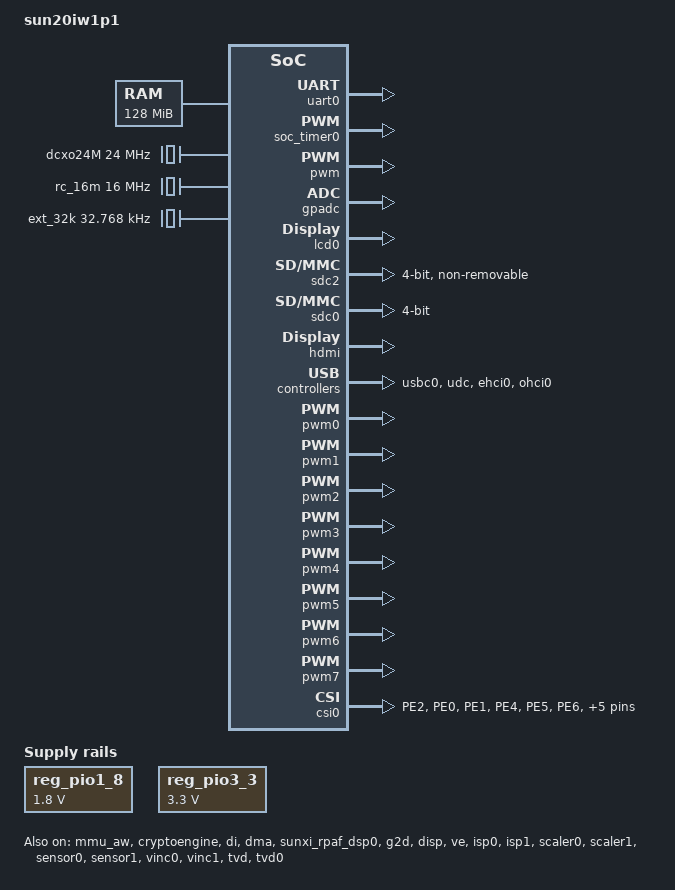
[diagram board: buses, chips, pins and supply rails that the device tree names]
/*
 * Allwinner Technology CO., Ltd. sun20iw1p1 platform.
 *
 */

/memreserve/ 0x41fc0000 0x020000;  /* opensbi */

#include <dt-bindings/clock/sun8iw20-ccu.h>
#include <dt-bindings/clock/sun8iw20-r-ccu.h>
#include <dt-bindings/clock/sun8iw20-rtc.h>
#include <dt-bindings/reset/sun8iw20-ccu.h>
#include <dt-bindings/reset/sun8iw20-r-ccu.h>
#include <dt-bindings/gpio/gpio.h>
#include <dt-bindings/interrupt-controller/irq.h>
#include <dt-bindings/gpio/sun4i-gpio.h>
#include <dt-bindings/thermal/thermal.h>

/ {
	model = "sun20iw1p1";
	compatible = "allwinner,sun20iw1p1";
	#address-cells = <2>;
	#size-cells = <2>;

	aliases {
		serial0 = &uart0;
		serial1 = &uart1;
		serial2 = &uart2;
		serial3 = &uart3;
		serial4 = &uart4;
		serial5 = &uart5;
		spi0 = &spi0;
		spi1 = &spi1;
		twi0 = &twi0;
		twi1 = &twi1;
		twi2 = &twi2;
		twi3 = &twi3;
		mmc2 = &sdc2;
		pwm0 = &pwm0;
		pwm1 = &pwm1;
		pwm2 = &pwm2;
		pwm3 = &pwm3;
		pwm4 = &pwm4;
		pwm5 = &pwm5;
		pwm6 = &pwm6;
		pwm7 = &pwm7;
		ir0 = &s_cir0;
		ir1 = &ir1;
		mmc0 = &sdc0;
		ve0 = &ve;
		tvd = &tvd;
		tvd0 = &tvd0;
	} ;

	chosen {
		bootargs = "console=ttyS0,115200n8 debug loglevel=7,initcall_debug=1 init=/init earlycon=sbi";
		stdout-path = "serial0:115200n8";
		linux,initrd-start = <0x42000000>;
		linux,initrd-end   = <0x43000000>;
	};

	cpus {
		#address-cells = <1>;
		#size-cells = <0>;
		timebase-frequency = <24000000>;

		idle-states {
			CPU_SLEEP: cpu-sleep {
				compatible = "riscv,idle-state";
				local-timer-stop;
				entry-latency-us = <59>;
				exit-latency-us = <59>;
				min-residency-us = <5000>;
			};
		};

		CPU0: cpu@0 {
			device_type = "cpu";
			reg = <0>;
			status = "okay";
			compatible = "riscv";
			riscv,isa = "rv64imafdcvsu";
		/*	riscv,priv-major = <1>;*/
		/*	riscv,priv-minor = <10>;*/
			mmu-type = "riscv,sv39";
			clocks = <&ccu CLK_RISCV>;
			clock-frequency = <24000000>;
			operating-points-v2 = <&cpu_opp_table>;
			cpu-idle-states = <&CPU_SLEEP>;
			#cooling-cells = <2>;
	/*		d-cache-size = <0x8000>;*/
	/*		d-cache-line-size = <32>;*/
			CPU0_intc: interrupt-controller {
				#interrupt-cells = <1>;
				interrupt-controller;
				compatible = "riscv,cpu-intc";
			};
		};
	};

	dram: dram {
		device_type = "dram";
		compatible = "allwinner,dram";
		clocks = <&ccu CLK_PLL_DDR0>;
		clock-names = "pll_ddr";
	};

	memory@40000000 {
		device_type = "memory";
		reg = <0x0 0x40000000 0x0 0x8000000>;
	};

	dump_reg: dump_reg@20000 {
		compatible = "allwinner,sunxi-dump-reg";
		reg = <0x0 0x00020000 0x0 0x0004>;
		/* 0x00020000: dump_reg test addr, 0x0004: dump_reg test size */
	};

	cpu_opp_table: cpu-opp-table {
		compatible = "allwinner,sun50i-operating-points";
		nvmem-cells = <&speedbin_efuse>, <&cpubin_efuse>;
		nvmem-cell-names = "speed", "bin";
		opp-shared;

		opp@480000000 {
			opp-hz = /bits/ 64 <480000000>;
			clock-latency-ns = <244144>; /* 8 32k periods */
			opp-microvolt-a0 = <900000>;
			opp-microvolt-a1 = <900000>;
			opp-microvolt-b0 = <950000>;
			opp-microvolt-b1 = <950000>;
			opp-microvolt-c0 = <950000>;
			opp-microvolt-c1 = <950000>;
			opp-supported-hw = <0x7>;
		};

		opp@600000000 {
			opp-hz = /bits/ 64 <600000000>;
			clock-latency-ns = <244144>; /* 8 32k periods */
			opp-microvolt-b0 = <950000>;
			opp-microvolt-c0 = <950000>;
			opp-microvolt-c1 = <950000>;
			opp-supported-hw = <0x6>;
		};

		opp@720000000 {
			opp-hz = /bits/ 64 <720000000>;
			clock-latency-ns = <244144>; /* 8 32k periods */
			opp-microvolt-a0 = <950000>;
			opp-microvolt-a1 = <900000>;
			opp-microvolt-b0 = <950000>;
			opp-microvolt-b1 = <950000>;
			opp-microvolt-c0 = <950000>;
			opp-microvolt-c1 = <950000>;
			opp-supported-hw = <0x7>;
		};

		opp@816000000 {
			opp-hz = /bits/ 64 <816000000>;
			clock-latency-ns = <244144>; /* 8 32k periods */
			opp-microvolt-a0 = <1000000>;
			opp-microvolt-a1 = <900000>;
			opp-microvolt-b1 = <950000>;
			opp-supported-hw = <0x1>;
		};

		opp@912000000 {
			opp-hz = /bits/ 64 <912000000>;
			clock-latency-ns = <244144>; /* 8 32k periods */
			opp-microvolt-a0 = <1050000>;
			opp-microvolt-a1 = <900000>;
			opp-microvolt-b1 = <950000>;
			opp-microvolt-c1 = <950000>;
			opp-supported-hw = <0x5>;
		};

		opp@1008000000 {
			opp-hz = /bits/ 64 <1008000000>;
			clock-latency-ns = <244144>; /* 8 32k periods */
			opp-microvolt-a0 = <1100000>;
			opp-microvolt-a1 = <950000>;
			opp-microvolt-b1 = <950000>;
			opp-microvolt-c1 = <950000>;
			opp-supported-hw = <0x5>;
		};
	};

	dcxo24M: dcxo24M_clk {
		#clock-cells = <0>;
		compatible = "fixed-clock";
		clock-frequency = <24000000>;
		clock-output-names = "dcxo24M";
	};

	rc_16m: rc16m_clk {
		#clock-cells = <0>;
		compatible = "fixed-clock";
		clock-frequency = <16000000>;
		clock-accuracy = <300000000>;
		clock-output-names = "rc-16m";
	};

	ext_32k: ext32k_clk {
		#clock-cells = <0>;
		compatible = "fixed-clock";
		clock-frequency = <32768>;
		clock-output-names = "ext-32k";
	};

	reg_pio1_8: pio-18 {
		compatible = "regulator-fixed";
		regulator-name = "pio-18";
		regulator-min-microvolt = <1800000>;
		regulator-max-microvolt = <1800000>;
	};

	reg_pio3_3: pio-33 {
		compatible = "regulator-fixed";
		regulator-name = "pio-33";
		regulator-min-microvolt = <3300000>;
		regulator-max-microvolt = <3300000>;
	};

	thermal-zones {
		cpu_thermal_zone {
			polling-delay-passive = <500>;
			polling-delay = <1000>;
			thermal-sensors = <&ths 0>;
			sustainable-power = <1200>;

			cpu_trips: trips {
				cpu_threshold: trip-point@0 {
					temperature = <70000>;
					type = "passive";
					hysteresis = <0>;
				};
				cpu_target: trip-point@1 {
					temperature = <90000>;
					type = "passive";
					hysteresis = <0>;
				};
				cpu_crit: cpu_crit@0 {
					temperature = <110000>;
					type = "critical";
					hysteresis = <0>;
				};
			};

			cooling-maps {
				map0 {
					trip = <&cpu_target>;
					cooling-device = <&CPU0
					THERMAL_NO_LIMIT
					THERMAL_NO_LIMIT>;
					contribution = <1024>;
				};
			};
		};
	};

	mmu_aw: iommu@2010000 {
		compatible = "allwinner,sunxi-iommu";
		reg = <0x0 0x02010000 0x0 0x1000>;
		interrupts-extended = <&plic0 80 IRQ_TYPE_LEVEL_HIGH>;
		interrupt-names = "iommu-irq";
		clocks = <&ccu CLK_BUS_IOMMU>;
		clock-names = "iommu";
		#iommu-cells = <2>;
		status = "okay";
	};

	soc: soc@3000000 {
		#address-cells = <2>;
		#size-cells = <2>;
		compatible = "simple-bus";
		ranges;

		sram_ctrl: sram_ctrl@3000000 {
			compatible = "allwinner,sram_ctrl";
			reg = <0x0 0x3000000 0 0x16C>;
			soc_ver {
				offset = <0x24>;
				mask = <0x7>;
				shift = <0>;
				ver_a = <0x18590000>;
				ver_b = <0x18590002>;
				ver_d = <0x18590003>;
			};

			soc_id {
				offset = <0x200>;
				mask = <0x1>;
				shift = <22>;
			};

			soc_bin {
				offset = <0x0>;
				mask = <0x3ff>;
				shift = <0x0>;
			};

		};

		rtc_ccu: rtc_ccu@7090000 {
			compatible = "allwinner,sun20iw1-rtc-ccu";
			device_type = "rtc-ccu";
			reg = <0x0 0x07090000 0x0 0x320>;  /* The same as rtc */
			#clock-cells = <1>;
		};

		ccu: clock@2001000 {
			compatible = "allwinner,sun20iw1-ccu";
			reg = <0x0 0x02001000 0x0 0x1000>;
			clocks = <&dcxo24M>, <&rtc_ccu CLK_OSC32K>, <&rtc_ccu CLK_IOSC>;
			clock-names = "hosc", "losc", "iosc";
			#clock-cells = <1>;
			#reset-cells = <1>;
		};

		r_ccu: clock@7010000 {
			compatible = "allwinner,sun20iw1-r-ccu";
			reg = <0x0 0x07010000 0x0 0x240>;
			clocks = <&dcxo24M>, <&rtc_ccu CLK_OSC32K>, <&rtc_ccu CLK_IOSC>,
				 <&ccu CLK_PLL_PERIPH0>;
			clock-names = "hosc", "losc", "iosc", "pll-periph0";
			#clock-cells = <1>;
			#reset-cells = <1>;
		};


		plic0: interrupt-controller@10000000 {
			compatible = "riscv,plic0";
			#address-cells = <2>;
			#interrupt-cells = <2>;
			interrupt-controller;
			reg = <0x0 0x10000000 0x0 0x4000000>;
			interrupts-extended = <&CPU0_intc 0xffffffff &CPU0_intc 9>;
			reg-names = "control";
			riscv,max-priority = <7>;
			riscv,ndev=<200>;
		};

		uart0: uart@2500000 {
			compatible = "allwinner,sun20i-uart";
			device_type = "uart0";
			reg = <0x0 0x02500000 0x0 0x400>;
			interrupts-extended = <&plic0 18 IRQ_TYPE_LEVEL_HIGH>;
			clocks = <&ccu CLK_BUS_UART0>;
			clock-names = "uart0";
			resets = <&ccu RST_BUS_UART0>;
			sunxi,uart-fifosize = <64>;
			uart0_port = <0>;
			uart0_type = <2>;
			status = "okay";
		};

		uart1: uart@2500400 {
			compatible = "allwinner,sun20i-uart";
			device_type = "uart1";
			reg = <0x0 0x02500400 0x0 0x400>;
			interrupts-extended = <&plic0 19 IRQ_TYPE_LEVEL_HIGH>;
			sunxi,uart-fifosize = <256>;
			clocks = <&ccu CLK_BUS_UART1>;
			clock-names = "uart1";
			resets = <&ccu RST_BUS_UART1>;
			uart1_port = <1>;
			uart1_type = <4>;
			status = "disabled";
		};

		uart2: uart@2500800 {
			compatible = "allwinner,sun20i-uart";
			device_type = "uart2";
			reg = <0x0 0x02500800 0x0 0x400>;
			interrupts-extended = <&plic0 20 IRQ_TYPE_LEVEL_HIGH>;
			sunxi,uart-fifosize = <256>;
			clocks = <&ccu CLK_BUS_UART2>;
			clock-names = "uart2";
			resets = <&ccu RST_BUS_UART2>;
			uart2_port = <2>;
			uart2_type = <4>;
			status = "disabled";
		};

		uart3: uart@2500c00 {
			compatible = "allwinner,sun20i-uart";
			device_type = "uart3";
			reg = <0x0 0x02500c00 0x0 0x400>;
			interrupts-extended = <&plic0 21 IRQ_TYPE_LEVEL_HIGH>;
			sunxi,uart-fifosize = <256>;
			clocks = <&ccu CLK_BUS_UART3>;
			clock-names = "uart3";
			resets = <&ccu RST_BUS_UART3>;
			uart3_port = <3>;
			uart3_type = <4>;
			status = "disabled";
		};

		uart4: uart@2501000 {
			compatible = "allwinner,sun20i-uart";
			device_type = "uart4";
			reg = <0x0 0x02501000 0x0 0x400>;
			interrupts-extended = <&plic0 22 IRQ_TYPE_LEVEL_HIGH>;
			sunxi,uart-fifosize = <256>;
			clocks = <&ccu CLK_BUS_UART4>;
			clock-names = "uart4";
			resets = <&ccu RST_BUS_UART4>;
			uart4_port = <4>;
			uart4_type = <2>;
			status = "disabled";
		};

		uart5: uart@2501400 {
			compatible = "allwinner,sun20i-uart";
			device_type = "uart5";
			reg = <0x0 0x02501400 0x0 0x400>;
			interrupts-extended = <&plic0 23 IRQ_TYPE_LEVEL_HIGH>;
			sunxi,uart-fifosize = <256>;
			clocks = <&ccu CLK_BUS_UART5>;
			clock-names = "uart5";
			resets = <&ccu RST_BUS_UART5>;
			uart5_port = <5>;
			uart5_type = <2>;
			status = "disabled";
		};
		cryptoengine: ce@03040000 {
			compatible = "allwinner,sunxi-ce";
			device_name = "ce";
			reg = <0x0 0x03040000 0x0 0xa0>, /* non-secure space */
			      <0x0 0x03040800 0x0 0xa0>; /* secure space */
			interrupts-extended = <&plic0 68 IRQ_TYPE_EDGE_RISING>, /*non-secure*/
				   <&plic0 69 IRQ_TYPE_EDGE_RISING>; /* secure*/
			clock-frequency = <400000000>; /* 400MHz */
			clocks = <&ccu CLK_BUS_CE>, <&ccu CLK_CE>, <&ccu CLK_MBUS_CE>,
					<&ccu CLK_PLL_PERIPH0_2X>;
			clock-names = "bus_ce", "ce_clk", "mbus_ce", "pll_periph0_2x";
			resets = <&ccu RST_BUS_CE>;
			status = "okay";
		};

		s_cir0: s_cir@7040000 {
			compatible = "allwinner,s_cir";
			reg = <0x0 0x07040000 0x0 0x400>;
			interrupts-extended = <&plic0 167 IRQ_TYPE_LEVEL_HIGH>;
			clocks = <&r_ccu CLK_R_APB0_BUS_IRRX>, <&dcxo24M>, <&r_ccu CLK_R_APB0_IRRX>;
			clock-names = "bus", "pclk", "mclk";
			resets = <&r_ccu RST_R_APB0_BUS_IRRX>;
			supply = "";
			supply_vol = "";
			status = "disabled";
		};

		ir1: ir@2003000 {
			compatible = "allwinner,irtx";
			reg = <0x0 0x02003000 0x0 0x400>;
			interrupts-extended = <&plic0 35 IRQ_TYPE_LEVEL_HIGH>;
			clocks = <&ccu CLK_BUS_IR_TX>, <&dcxo24M>, <&ccu CLK_IR_TX>;
			clock-names = "bus", "pclk", "mclk";
			resets = <&ccu RST_BUS_IR_TX>;
			status = "disabled";
		};

		di: deinterlace@5400000 {
			compatible = "allwinner,sunxi-deinterlace";
			reg = <0x0 0x05400000 0x0 0x0000ffff>;
			interrupts-extended = <&plic0 104 IRQ_TYPE_LEVEL_HIGH>;
			clocks = <&ccu CLK_DI>,
				 <&ccu CLK_BUS_DI>,
				 <&ccu CLK_PLL_PERIPH0_2X>;
			clock-names = "clk_di",
				      "pll_periph",
				      "clk_bus_di";
			resets = <&ccu RST_BUS_DI>;
			reset-names = "rst_bus_di";

			assigned-clocks = <&ccu CLK_DI>;
			assigned-clock-parents = <&ccu CLK_PLL_PERIPH0_2X>;
			assigned-clock-rates = <300000000>;

			iommus = <&mmu_aw 4 1>;
			status = "okay";
		};

		gmac0: eth@4500000 {
			compatible = "allwinner,sunxi-gmac";
			reg = <0x0 0x04500000 0x0 0x10000>,
			      <0x0 0x03000030 0x0 0x4>;
			interrupts-extended = <&plic0 62 IRQ_TYPE_LEVEL_HIGH>;
			interrupt-names = "gmacirq";
			clocks = <&ccu CLK_BUS_EMAC0>, <&ccu CLK_EMAC0_25M>;
			clock-names = "gmac", "ephy";
			resets = <&ccu RST_BUS_EMAC0>;
			device_type = "gmac0";
			pinctrl-0 = <&gmac_pins_a>;
			pinctrl-1 = <&gmac_pins_b>;
			pinctrl-names = "default", "sleep";
			phy-mode = "rgmii";
			use_ephy25m = <1>;
			tx-delay = <7>;
			rx-delay = <31>;
			phy-rst = <&pio PA 14 GPIO_ACTIVE_LOW>;
			gmac-power0;
			gmac-power1;
			gmac-power2;
			status = "disabled";
		};

		rtc: rtc@7090000 {
			compatible = "allwinner,sun20iw1-rtc";
			device_type = "rtc";
			wakeup-source;
			interrupts-extended = <&plic0 160 IRQ_TYPE_LEVEL_HIGH>;
			reg = <0x0 0x07090000 0x0 0x320>;
			clocks = <&r_ccu CLK_R_AHB_BUS_RTC>, <&rtc_ccu CLK_RTC_SPI>, <&rtc_ccu CLK_RTC_1K>;
			clock-names = "r-ahb-rtc", "rtc-spi", "rtc-1k";
			resets = <&r_ccu RST_R_AHB_BUS_RTC>;
			gpr_cur_pos = <6>;
		};

		dma: dma-controller@3002000 {
			compatible = "allwinner,sun8i-riscv-dma";
			reg = <0x0 0x03002000 0x0 0x1000>;
			interrupts-extended = <&plic0 66 IRQ_TYPE_LEVEL_HIGH>;
			clocks = <&ccu CLK_BUS_DMA>, <&ccu CLK_MBUS_DMA>;
			clock-names = "bus", "mbus";
			resets = <&ccu RST_BUS_DMA>;
			dma-channels = <8>;
			dma-requests = <48>;
			#dma-cells = <1>;
			status = "okay";
		};

		soc_timer0: timer@2050000 {
			compatible = "allwinner,sun4i-a10-timer";
			device_type = "soc_timer";
			reg = <0x0 0x02050000 0x0 0xA0>;
			interrupts-extended = <&plic0 75 IRQ_TYPE_LEVEL_HIGH>;
			clocks = <&dcxo24M>;
			status = "okay";
		};

		wdt: watchdog@6011000 {
			compatible = "allwinner,sun20i-wdt";
			reg = <0x0 0x06011000 0x0 0x20>;
			interrupts-extended = <&plic0 147 IRQ_TYPE_LEVEL_HIGH>;
		};

		mbus0:mbus-comtroller@3102000 {
			compatible = "allwinner,sun8i-mbus";
			reg = <0x0 0x03102000 0x0 0x1000>;
			#mbus-cells = <1>;
		};

		pmu: pmu {
			compatible = "riscv,c910_pmu";
		};

		ilde: idle {
			compatible = "riscv,idle";
		};

		pio: pinctrl@2000000 {
			compatible = "allwinner,sun20iw1-pinctrl";
			reg = <0x0 0x02000000 0x0 0x500>;
			interrupts-extended = <&plic0 85 IRQ_TYPE_LEVEL_HIGH>,
				     <&plic0 87 IRQ_TYPE_LEVEL_HIGH>,
				     <&plic0 89 IRQ_TYPE_LEVEL_HIGH>,
				     <&plic0 91 IRQ_TYPE_LEVEL_HIGH>,
				     <&plic0 93 IRQ_TYPE_LEVEL_HIGH>,
				     <&plic0 95 IRQ_TYPE_LEVEL_HIGH>;
			device_type = "pio";
			clocks = <&ccu CLK_APB0>, <&dcxo24M>, <&rtc_ccu CLK_OSC32K>;
			clock-names = "apb", "hosc", "losc";
			gpio-controller;
			#gpio-cells = <3>;
			interrupt-controller;
			#interrupt-cells = <3>;
			#size-cells = <0>;
			vcc-pf-supply = <&reg_pio1_8>;
			vcc-pfo-supply = <&reg_pio3_3>;

			test_pins_a: test_pins@0 {
				allwinner,pins = "PB0", "PB1";
				allwinner,function = "test";
				allwinner,muxsel = <0x7>;
				allwinner,drive = <1>;
				allwinner,pull = <1>;
			};
			test_pins_b: test_pins@1 {
				pins = "PB0", "PB1";
				function = "io_disabled";
				allwinner,muxsel = <0xF>;
				allwinner,drive = <1>;
				allwinner,pull = <1>;
			};

			gmac_pins_a: gmac@0 {
				pins = "PA0", "PA1", "PA2", "PA3",
						 "PA4", "PA5", "PA6", "PA7",
						 "PA8", "PA10", "PA11", "PA12",
						 "PA13", "PA17", "PA18", "PA28",
						 "PA29", "PA30", "PA31";
				function = "gmac0";
				drive-strength = <10>;
			};

			gmac_pins_b: gmac@1 {
				pins = "PA0", "PA1", "PA2", "PA3",
						 "PA4", "PA5", "PA6", "PA7",
						 "PA8", "PA10", "PA11", "PA12",
						 "PA13", "PA17", "PA18", "PA28",
						 "PA29", "PA30", "PA31";
				function = "gpio_in";
				drive-strength = <10>;
			};

			ir1_pins_a: ir1@0 {  /* For FPGA board */
				pins = "PG11";
				function = "ir1";
				drive-strength = <10>;
			};

			csi_mclk0_pins_a: csi_mclk0@0 {
				pins = "PE3";
				function = "csi0";
				drive-strength = <10>;
			};
			csi_mclk0_pins_b: csi_mclk0@1 {
				pins = "PE3";
				function = "gpio_in";
			};
			csi0_pins_a: csi0@0 {
				pins = "PE2", "PE0", "PE1", "PE4", "PE5",
						 "PE6", "PE7", "PE8", "PE9", "PE10", "PE11";
				function = "ncsi0";
				drive-strength = <10>;
			};
			csi0_pins_b: csi0@1 {
				pins = "PE2", "PE0", "PE1", "PE4", "PE5",
						 "PE6", "PE7", "PE8", "PE9", "PE10", "PE11";
				function = "io_disabled";
				drive-strength = <10>;
			};

			lvds0_pins_a: lvds0@0 {
				pins  = "PD0", "PD1", "PD2", "PD3", "PD4", "PD5", "PD6", "PD7", "PD8", "PD9";
				function = "lvds0";
				drive-strength = <30>;
				bias-disable;
			};

			lvds0_pins_b: lvds0@1 {
				pins  = "PD0", "PD1", "PD2", "PD3", "PD4", "PD5", "PD6", "PD7", "PD8", "PD9";
				function = "io_disabled";
				drive-strength = <30>;
				bias-disable;
			};

			rgb24_pins_a: rgb24@0 {
				pins = "PB2", "PB3", "PD0", "PD1", "PD2", "PD3", "PD4", "PD5", \
					"PB4", "PB5", "PD6", "PD7", "PD8", "PD9", "PD10", "PD11", \
					"PB6", "PB7", "PD12", "PD13", "PD14", "PD15", "PD16", "PD17", \
					"PD18", "PD19", "PD20", "PD21";
				function = "lcd0";
				drive-strength = <30>;
				bias-disable;
			};

			rgb24_pins_b: rgb24@1 {
				pins = "PB2", "PB3", "PD0", "PD1", "PD2", "PD3", "PD4", "PD5", \
					"PB4", "PB5", "PD6", "PD7", "PD8", "PD9", "PD10", "PD11", \
					"PB6", "PB7", "PD12", "PD13", "PD14", "PD15", "PD16", "PD17", \
					"PD18", "PD19", "PD20", "PD21";
				function = "io_disabled";
				bias-disable;
			};

			rgb18_pins_a: rgb18@0 {
				pins = "PD0", "PD1", "PD2", "PD3", "PD4", "PD5", \
					"PD6", "PD7", "PD8", "PD9", "PD10", "PD11", \
					"PD12", "PD13", "PD14", "PD15", "PD16", "PD17", \
					"PD18", "PD19", "PD20", "PD21";
				function = "lcd0";
				drive-strength = <30>;
				bias-disable;
			};

			rgb18_pins_b: rgb18@1 {
				pins = "PD0", "PD1", "PD2", "PD3", "PD4", "PD5", \
					"PD6", "PD7", "PD8", "PD9", "PD10", "PD11", \
					"PD12", "PD13", "PD14", "PD15", "PD16", "PD17", \
					"PD18", "PD19", "PD20", "PD21";
				function = "io_disabled";
				bias-disable;
			};

			dsi2lane_pins_a: dsi2lane@0 {
				pins = "PD0", "PD1", "PD2", "PD3", "PD4", "PD5";
				function = "dsi";
				drive-strength = <30>;
				bias-disable;
			};

			dsi2lane_pins_b: dsi2lane@1 {
				pins = "PD0", "PD1", "PD2", "PD3", "PD4", "PD5";
				function = "io_disabled";
				bias-disable;
			};

			dsi4lane_pins_a: dsi4lane@0 {
				pins = "PD0", "PD1", "PD2", "PD3", "PD4", "PD5", "PD6", "PD7", "PD8", "PD9";
				function = "dsi";
				drive-strength = <30>;
				bias-disable;
			};

			dsi4lane_pins_b: dsi4lane@1 {
				pins = "PD0", "PD1", "PD2", "PD3", "PD4", "PD5", "PD6", "PD7", "PD8", "PD9";
				function = "io_disabled";
				bias-disable;
			};

		};

		spi0: spi@4025000 {
			#address-cells = <1>;
			#size-cells = <0>;
			compatible = "allwinner,sun20i-spi";
			device_type = "spi0";
			reg = <0x0 0x04025000 0x0 0x300>;
			interrupts-extended = <&plic0 31 IRQ_TYPE_LEVEL_HIGH>;
			clocks = <&ccu CLK_PLL_PERIPH0>, <&ccu CLK_SPI0>, <&ccu CLK_BUS_SPI0>;
			clock-names = "pll", "mod", "bus";
			resets = <&ccu RST_BUS_SPI0>;
			clock-frequency = <100000000>;
			pinctrl-names = "default", "sleep";
			spi0_cs_number = <1>;
			spi0_cs_bitmap = <1>;
			dmas = <&dma 22>, <&dma 22>;
			dma-names = "tx", "rx";
			status = "disabled";
		};

		spi1: spi@4026000 {
			#address-cells = <1>;
			#size-cells = <0>;
			compatible = "allwinner,sun20i-spi";
			reg = <0x0 0x04026000 0x0 0x1000>;
			interrupts-extended = <&plic0 32 IRQ_TYPE_LEVEL_HIGH>;
			clocks = <&ccu CLK_PLL_PERIPH0>, <&ccu CLK_SPI1>, <&ccu CLK_BUS_SPI1>;
			clock-names = "pll", "mod", "bus";
			resets = <&ccu RST_BUS_SPI1>;
			clock-frequency = <100000000>;
			spi1_cs_number = <1>;
			spi1_cs_bitmap = <1>;
			dmas = <&dma 23>, <&dma 23>;
			dma-names = "tx", "rx";
			status = "disabled";
		};

		twi0: twi@2502000 {
			#address-cells = <1>;
			#size-cells = <0>;
			compatible = "allwinner,sun20i-twi";
			device_type = "twi0";
			reg = <0x0 0x02502000 0x0 0x400>;
			interrupts-extended= <&plic0 25 IRQ_TYPE_LEVEL_HIGH>;
			clocks = <&ccu CLK_BUS_I2C0>;
			resets = <&ccu RST_BUS_I2C0>;
			clock-names = "bus";
			clock-frequency = <400000>;
			dmas = <&dma 43>, <&dma 43>;
			dma-names = "tx", "rx";
			status = "disabled";
		};

		twi1: twi@2502400 {
			#address-cells = <1>;
			#size-cells = <0>;
			compatible = "allwinner,sun20i-twi";
			device_type = "twi1";
			reg = <0x0 0x02502400 0x0 0x400>;
			interrupts-extended= <&plic0 26 IRQ_TYPE_LEVEL_HIGH>;
			clocks = <&ccu CLK_BUS_I2C1>;
			resets = <&ccu RST_BUS_I2C1>;
			clock-names = "bus";
			clock-frequency = <200000>;
			dmas = <&dma 44>, <&dma 44>;
			dma-names = "tx", "rx";
			status = "disabled";
		};

		twi2: twi@2502800 {
			#address-cells = <1>;
			#size-cells = <0>;
			compatible = "allwinner,sun20i-twi";
			device_type = "twi2";
			reg = <0x0 0x02502800 0x0 0x400>;
			interrupts-extended = <&plic0 27 IRQ_TYPE_LEVEL_HIGH>;
			clocks = <&ccu CLK_BUS_I2C2>;
			resets = <&ccu RST_BUS_I2C2>;
			clock-names = "bus";
			clock-frequency = <100000>;
			dmas = <&dma 45>, <&dma 45>;
			dma-names = "tx", "rx";
			status = "disabled";
		};

		twi3: twi@2502c00 {
			#address-cells = <1>;
			#size-cells = <0>;
			compatible = "allwinner,sun20i-twi";
			device_type = "twi3";
			reg = <0x0 0x02502c00 0x0 0x400>;
			interrupts-extended = <&plic0 28 IRQ_TYPE_LEVEL_HIGH>;
			clocks = <&ccu CLK_BUS_I2C3>;
			resets = <&ccu RST_BUS_I2C3>;
			clock-names = "bus";
			clock-frequency = <100000>;
			dmas = <&dma 46>, <&dma 46>;
			dma-names = "tx", "rx";
			status = "disabled";
		};

		ledc: ledc@2008000 {
			#address-cells = <1>;
			#size-cells = <0>;
			compatible = "allwinner,sunxi-leds";
			reg = <0x0 0x02008000 0x0 0x400>;
			interrupts-extended = <&plic0 36 IRQ_TYPE_LEVEL_HIGH>;
			interrupt-names = "ledcirq";
			clocks = <&ccu CLK_LEDC>, <&ccu CLK_BUS_LEDC>;
			clock-names = "clk_ledc", "clk_cpuapb";
			dmas = <&dma 42>, <&dma 42>;
			dma-names = "rx", "tx";
			resets = <&ccu RST_BUS_LEDC>;
			reset-names = "ledc_reset";
			status = "disable";
		};

		pwm: pwm@2000c00 {
			#pwm-cells = <0x3>;
			compatible = "allwinner,sunxi-pwm";
			reg = <0x0 0x02000c00 0x0 0x3ff>;
			clocks = <&ccu CLK_BUS_PWM>;
			resets = <&ccu RST_BUS_PWM>;
			pwm-number = <8>;
			pwm-base = <0x0>;
			sunxi-pwms = <&pwm0>, <&pwm1>, <&pwm2>, <&pwm3>, <&pwm4>,
				<&pwm5>, <&pwm6>, <&pwm7>;

		};

		keyboard0: keyboard@2009800 {
			compatible = "allwinner,keyboard_1350mv";
			reg = <0x0 0x02009800 0x0 0x400>;
			interrupts-extended = <&plic0 77 IRQ_TYPE_EDGE_RISING>;
			clocks = <&ccu CLK_BUS_LRADC>;
			resets = <&ccu RST_BUS_LRADC>;
			key_cnt = <5>;
			key0 = <210 115>;
			key1 = <410 114>;
			key2 = <590 139>;
			key3 = <750 28>;
			key4 = <880 172>;
			status = "disabled";
		};

		sid@3006000 {
			compatible = "allwinner,sun20iw1p1-sid", "allwinner,sunxi-sid";
			reg = <0x0 0x03006000 0 0x1000>;
			#address-cells = <1>;
			#size-cells = <1>;

			chipid {
				reg = <0x0 0>;
				offset = <0x200>;
				size = <0x10>;
			};

			oem {
				reg = <0x0 0>;
				offset = <0x238>;
				size = <0x8>;
			};

			secure_status {
				reg = <0x0 0>;
				offset = <0x210>;
				size = <0x4>;
			};

			speedbin_efuse: speedbin@00 {
				reg = <0x00 4>;
			};

			cpubin_efuse: cpubin@28 {
				reg = <0x28 4>;
			};

			ths_calib: calib@14 {
				reg = <0x14 8>;
			};
		};

		gpadc: gpadc@2009000 {
		       compatible = "allwinner,sunxi-gpadc";
		       reg = <0x0 0x02009000 0x0 0x400>;
		       interrupts-extended = <&plic0 73 IRQ_TYPE_LEVEL_HIGH>;
		       clocks = <&ccu CLK_BUS_GPADC>;
		       clock-names = "bus";
		       resets = <&ccu RST_BUS_GPADC>;
		       status = "okay";
		};

		ths: ths@02009400 {
			compatible = "allwinner,sun20iw1p1-ths";
			reg = <0x0 0x02009400 0x0 0x400>;
			clocks = <&ccu CLK_BUS_THS>;
			clock-names = "bus";
			resets = <&ccu RST_BUS_THS>;
			nvmem-cells = <&ths_calib>;
			nvmem-cell-names = "calibration";
			#thermal-sensor-cells = <1>;
		};

		tpadc: tpadc@2009c00 {
			compatible = "allwinner,tp_key";
			reg = <0x0 0x02009c00 0x0 0x400>;
			interrupts-extended = <&plic0 78 IRQ_TYPE_LEVEL_HIGH>;
			clocks = <&ccu CLK_TPADC>, <&ccu CLK_BUS_TPADC>;
			clock-names = "mod", "bus";
			clock-frequency = <1000000>;
			resets = <&ccu RST_BUS_TPADC>;
			status = "disabled";
		};

		rtp:rtp@2009c00 {
			compatible = "allwinner,sun8i-ts";
			reg = <0x0 0x02009c00 0x0 0x400>;
			clocks = <&ccu CLK_TPADC>, <&ccu CLK_BUS_TPADC>;
			clock-names = "mod", "bus";
			clock-frequency = <1000000>;
			resets = <&ccu RST_BUS_TPADC>;
			interrupts-extended = <&plic0 78 IRQ_TYPE_LEVEL_HIGH>;
		};

		/* codec addr: 0x02030000, the others is invalid to avoid build warining */
		codec:codec@2030000 {
			#sound-dai-cells = <0>;
			compatible = "allwinner,sunxi-internal-codec";
			reg = <0x0 0x02030000 0x0 0x34c>;
			clocks = <&ccu CLK_PLL_AUDIO0>,
				 <&ccu CLK_PLL_AUDIO1_DIV5>,
				 <&ccu CLK_AUDIO_DAC>,
				 <&ccu CLK_AUDIO_ADC>,
				 <&ccu CLK_BUS_AUDIO_CODEC>;
			clock-names = "pll_audio0", "pll_audio1_div5",
				      "audio_clk_dac", "audio_clk_adc",
				      "audio_clk_bus";
			resets = <&ccu RST_BUS_AUDIO_CODEC>;
			rx_sync_en  = <0x00>;
			device_type = "codec";
			status = "disabled";
		};

		dummy_cpudai:dummy_cpudai@203034c {
			compatible = "allwinner,sunxi-dummy-cpudai";
			reg = <0x0 0x0203034c 0x0 0x4>;
			tx_fifo_size    = <128>;
			rx_fifo_size    = <256>;
			dac_txdata      = <0x02030020>;
			adc_txdata      = <0x02030040>;
			playback_cma    = <128>;
			capture_cma     = <256>;
			device_type = "cpudai";
			dmas = <&dma 7>, <&dma 7>;
			dma-names = "tx", "rx";
			status = "disabled";
		};

		sndcodec:sound@2030340 {
			compatible = "allwinner,sunxi-codec-machine";
			reg = <0x0 0x02030340 0x0 0x4>;
			interrupts-extended = <&plic0 41 IRQ_TYPE_LEVEL_HIGH>;
			sunxi,audio-codec = <&codec>;
			sunxi,cpudai-controller = <&dummy_cpudai>;
			device_type = "sndcodec";
			status = "disabled";
		};

		sunxi_rpaf_dsp0:rpaf-dsp@203034c {
			compatible = "allwinner,rpaf-dsp0";
			device_type = "sunxi_rpaf_dsp0";
			dsp_id = <0x0>;
			status = "okay";
		};

		/* dmic addr: 0x02031000, the others is invalid to avoid build warining */
		dmic:dmic@2031000{
			#sound-dai-cells = <0>;
			compatible = "allwinner,sunxi-dmic";
			reg = <0x0 0x02031000 0x0 0x50>;
			clocks = <&ccu CLK_PLL_AUDIO0>,
				 <&ccu CLK_DMIC>,
				 <&ccu CLK_BUS_DMIC>;
			clock-names = "pll_audio", "dmic", "dmic_bus";
			resets = <&ccu RST_BUS_DMIC>;
			dmas		= <&dma 8>;
			dma-names	= "rx";
			interrupts-extended = <&plic0 40 IRQ_TYPE_LEVEL_HIGH>;
			clk_parent	= <0x1>;
			capture_cma	= <256>;
			data_vol	= <0xB0>;
			rx_chmap	= <0x76543210>;
			rx_sync_en      = <0x00>;
			device_type = "dmic";
			status = "disabled";
		};

		dmic_codec:sound@2031050{
			#sound-dai-cells = <0>;
			compatible = "dmic-codec";
			reg = <0x0 0x02031050 0x0 0x4>;
			num-channels = <8>;
			status = "disabled";
		};

		sounddmic:sounddmic@2031060 {
			reg = <0x0 0x02031060 0x0 0x4>;
			compatible = "sunxi,simple-audio-card";
			simple-audio-card,name = "snddmic";
			simple-audio-card,capture_only;
			status = "disabled";
			/* simple-audio-card,format = "i2s"; */
			simple-audio-card,cpu {
				sound-dai = <&dmic>;
			};
			simple-audio-card,codec {
				sound-dai = <&dmic_codec>;
			};
		};

		/* daudio0 addr: 0x02032000, the others is invalid to avoid build warining */
		daudio0:daudio@2032000 {
			#sound-dai-cells = <0>;
			compatible = "allwinner,sunxi-daudio";
			reg = <0x0 0x02032000 0x0 0xa0>;
			clocks = <&ccu CLK_PLL_AUDIO0>,
				 <&ccu CLK_I2S0>,
				 <&ccu CLK_BUS_I2S0>;
			clock-names = "pll_audio", "i2s0", "i2s0_bus";
			resets = <&ccu RST_BUS_I2S0>;
			dmas		= <&dma 3>, <&dma 3>;
			dma-names	= "tx", "rx";
			interrupts-extended = <&plic0 42 IRQ_TYPE_LEVEL_HIGH>;
			sign_extend		= <0x00>;
			tx_data_mode		= <0x00>;
			rx_data_mode		= <0x00>;
			msb_lsb_first		= <0x00>;
			pcm_lrck_period		= <0x80>;
			slot_width_select	= <0x20>;
			frametype		= <0x00>;
			tdm_config		= <0x01>;
			tdm_num			= <0x00>;
			mclk_div		= <0x00>;
			clk_parent		= <0x01>;
			capture_cma		= <128>;
			playback_cma		= <128>;
			tx_num			= <4>;
			tx_chmap1		= <0x76543210>;
			tx_chmap0		= <0xFEDCBA98>;
			rx_num			= <4>;
			rx_chmap3		= <0x03020100>;
			rx_chmap2		= <0x07060504>;
			rx_chmap1		= <0x0B0A0908>;
			rx_chmap0		= <0x0F0E0D0C>;
			asrc_function_en	= <0x00>;
			rx_sync_en              = <0x00>;
			device_type = "daudio0";
			status = "disabled";
		};

		sounddaudio0: sounddaudio0@20320a0 {
			reg = <0x0 0x020320a0 0x0 0x4>;
			compatible = "sunxi,simple-audio-card";
			simple-audio-card,name = "snddaudio0";
			simple-audio-card,format = "i2s";
			status = "disabled";
			/* simple-audio-card,frame-master = <&daudio0_master>; */
			/* simple-audio-card,bitclock-master = <&daudio0_master>; */
			/* simple-audio-card,bitclock-inversion; */
			/* simple-audio-card,frame-inversion; */
			simple-audio-card,cpu {
				sound-dai = <&daudio0>;
			};
		};

		/* daudio1 addr: 0x02033000, the others is invalid to avoid build warining */
		daudio1:daudio@2033000 {
			#sound-dai-cells = <0>;
			compatible = "allwinner,sunxi-daudio";
			reg = <0x0 0x02033000 0x0 0xa0>;
			clocks = <&ccu CLK_PLL_AUDIO0>,
				 <&ccu CLK_I2S1>,
				 <&ccu CLK_BUS_I2S1>;
			clock-names = "pll_audio", "i2s1", "i2s1_bus";
			resets = <&ccu RST_BUS_I2S1>;
			dmas		= <&dma 4>, <&dma 4>;
			dma-names	= "tx", "rx";
			interrupts-extended = <&plic0 43 IRQ_TYPE_LEVEL_HIGH>;
			sign_extend		= <0x00>;
			tx_data_mode		= <0x00>;
			rx_data_mode		= <0x00>;
			msb_lsb_first		= <0x00>;
			pcm_lrck_period		= <0x80>;
			slot_width_select	= <0x20>;
			frametype		= <0x00>;
			tdm_config		= <0x01>;
			tdm_num			= <0x01>;
			mclk_div		= <0x00>;
			clk_parent		= <0x01>;
			capture_cma		= <128>;
			playback_cma		= <128>;
			tx_num			= <4>;
			tx_chmap1		= <0x76543210>;
			tx_chmap0		= <0xFEDCBA98>;
			rx_num			= <4>;
			rx_chmap3		= <0x03020100>;
			rx_chmap2		= <0x07060504>;
			rx_chmap1		= <0x0B0A0908>;
			rx_chmap0		= <0x0F0E0D0C>;
			asrc_function_en	= <0x00>;
			rx_sync_en              = <0x00>;
			device_type = "daudio1";
			status = "disabled";
		};

		sounddaudio1: sounddaudio1@20330a0 {
			reg = <0x0 0x020330a0 0x0 0x4>;
			compatible = "sunxi,simple-audio-card";
			simple-audio-card,name = "snddaudio1";
			simple-audio-card,format = "i2s";
			status = "disabled";
			simple-audio-card,cpu {
				sound-dai = <&daudio1>;
			};
		};

		/* daudio2 addr: 0x02034000, the others is invalid to avoid build warining */
		daudio2:daudio@2034000 {
			#sound-dai-cells = <0>;
			compatible = "allwinner,sunxi-daudio";
			reg = <0x0 0x02034000 0x0 0xa0>;
			clocks = <&ccu CLK_PLL_AUDIO0>,
				 <&ccu CLK_I2S2>,
				 <&ccu CLK_BUS_I2S2>,
				 <&ccu CLK_PLL_AUDIO0_4X>,
				 <&ccu CLK_I2S2_ASRC>;
			resets = <&ccu RST_BUS_I2S2>;
			dmas		= <&dma 5>, <&dma 5>;
			dma-names	= "tx", "rx";
			interrupts-extended = <&plic0 44 IRQ_TYPE_LEVEL_HIGH>;
			sign_extend		= <0x00>;
			tx_data_mode		= <0x00>;
			rx_data_mode		= <0x00>;
			msb_lsb_first		= <0x00>;
			pcm_lrck_period		= <0x80>;
			slot_width_select	= <0x20>;
			frametype		= <0x00>;
			tdm_config		= <0x01>;
			tdm_num			= <0x02>;
			mclk_div		= <0x01>;
			clk_parent		= <0x01>;
			capture_cma		= <128>;
			playback_cma		= <128>;
			tx_num			= <4>;
			tx_chmap1		= <0x76543210>;
			tx_chmap0		= <0xFEDCBA98>;
			rx_num			= <4>;
			rx_chmap3		= <0x03020100>;
			rx_chmap2		= <0x07060504>;
			rx_chmap1		= <0x0B0A0908>;
			rx_chmap0		= <0x0F0E0D0C>;
			asrc_function_en	= <0x00>;
			rx_sync_en              = <0x00>;
			device_type = "daudio2";
			status = "disabled";
		};

		sounddaudio2: sounddaudio2@20340a0 {
			reg = <0x0 0x020340a0 0x0 0x4>;
			compatible = "sunxi,simple-audio-card";
			simple-audio-card,name = "snddaudio2";
			simple-audio-card,format = "i2s";
			status = "disabled";
			simple-audio-card,cpu {
				sound-dai = <&daudio2>;
			};
		};

		hdmiaudio: hdmiaudio@20340a4 {
			#sound-dai-cells = <0>;
			reg = <0x0 0x020340a4 0x0 0x4>;
			compatible = "allwinner,sunxi-hdmiaudio";
			status = "disabled";
		};

		/* spdif addr: 0x02036000, the others is invalid to avoid build warining */
		spdif:spdif@2036000 {
			#sound-dai-cells = <0>;
			compatible = "allwinner,sunxi-spdif";
			reg = <0x0 0x02036000 0x0 0x58>;
			clocks = <&ccu CLK_PLL_AUDIO0_4X>,
				 <&ccu CLK_SPDIF_TX>,
				 <&ccu CLK_BUS_SPDIF>,
				 <&ccu CLK_PLL_AUDIO1>,
				 <&ccu CLK_PLL_AUDIO1_DIV5>,
				 <&ccu CLK_PLL_PERIPH0>,
				 <&ccu CLK_SPDIF_RX>;
			clock-names = "pll_audio0", "spdif", "spdif_bus",
				      "pll_audio1", "pll_audio1_div5",
				      "pll_periph","spdif_rx";
			resets = <&ccu RST_BUS_SPDIF>;
			dmas		= <&dma 2>, <&dma 2>;
			dma-names	= "tx", "rx";
			interrupts-extended = <&plic0 41 IRQ_TYPE_LEVEL_HIGH>;
			clk_parent	= <0x1>;
			playback_cma	= <128>;
			capture_cma	= <128>;
			rx_sync_en      = <0>;
			device_type = "spdif";
			status = "disabled";
		};

		soundspdif:soundspdif@2036040 {
			reg = <0x0 0x02036040 0x0 0x4>;
			compatible = "sunxi,simple-audio-card";
			simple-audio-card,name = "sndspdif";
			status = "disabled";
			 /* simple-audio-card,format = "i2s"; */
			 simple-audio-card,cpu {
				 sound-dai = <&spdif>;
			 };
			 simple-audio-card,codec {
				 /*snd-soc-dummy*/
			 };
		};

		g2d: g2d@5410000 {
			compatible = "allwinner,sunxi-g2d";
			reg = <0x0 0x05410000 0x0 0x3ffff>;
/*			interrupts = <GIC_SPI 89 IRQ_TYPE_LEVEL_HIGH>;*/
			interrupts-extended = <&plic0 105 IRQ_TYPE_LEVEL_HIGH>;
			clocks = <&ccu CLK_BUS_G2D>, <&ccu CLK_G2D>, <&ccu CLK_MBUS_G2D>;
			clock-names = "bus", "g2d", "mbus_g2d";
			resets = <&ccu RST_BUS_G2D>;
			iommus = <&mmu_aw 3 1>;
			status = "okay";
		};

		disp: disp@5000000 {
			compatible = "allwinner,sunxi-disp";
			reg = <0x0 0x05000000 0x0 0x3fffff>,	/* de0 */
			      <0x0 0x05460000 0x0 0xfff>,	/*display_if_top*/
			      <0x0 0x05461000 0x0 0xfff>,	/* tcon-lcd0 */
			      <0x0 0x05470000 0x0 0xfff>,	/* tcon-tv */
			      <0x0 0x05450000 0x0 0x1fff>;	/* dsi0*/
/*			interrupts = <GIC_SPI 90 IRQ_TYPE_LEVEL_HIGH>,tcon-lcd0
				     <GIC_SPI 91 IRQ_TYPE_LEVEL_HIGH>,tcon-tv
				     <GIC_SPI 92 IRQ_TYPE_LEVEL_HIGH>;dsi*/
			interrupts-extended = <&plic0 106 IRQ_TYPE_LEVEL_HIGH>,
					      <&plic0 107 IRQ_TYPE_LEVEL_HIGH>,
					      <&plic0 108 IRQ_TYPE_LEVEL_HIGH>;

			clocks = <&ccu CLK_DE0>,
				 <&ccu CLK_DE0>,
				 <&ccu CLK_BUS_DE0>,
				 <&ccu CLK_BUS_DE0>,
				 <&ccu CLK_BUS_DPSS_TOP0>,
				 <&ccu CLK_BUS_DPSS_TOP0>,
				 <&ccu CLK_MIPI_DSI>,
				 <&ccu CLK_BUS_MIPI_DSI>,
				 <&ccu CLK_TCON_LCD0>,
				 <&ccu CLK_TCON_TV>,
				 <&ccu CLK_BUS_TCON_LCD0>,
				 <&ccu CLK_BUS_TCON_TV>,
				 <&ccu CLK_MIPI_DSI>,
				 <&ccu CLK_BUS_MIPI_DSI>;
			clock-names = "clk_de0",
					"clk_de1",
					"clk_bus_de0",
					"clk_bus_de1",
					"clk_bus_dpss_top0",
					"clk_bus_dpss_top1",
					"clk_mipi_dsi0",
					"clk_bus_mipi_dsi0",
					"clk_tcon0",
					"clk_tcon1",/*tcon-tv actually*/
					"clk_bus_tcon0",
					"clk_bus_tcon1",/*tcon-tv actually*/
					"clk_mipi_dsi0",
					"clk_bus_mipi_dsi0";
			resets = <&ccu RST_BUS_DE0>,
				 <&ccu RST_BUS_DE0>,
				 <&ccu RST_BUS_DPSS_TOP0>,
				 <&ccu RST_BUS_DPSS_TOP0>,
				 <&ccu RST_BUS_MIPI_DSI>,
				 <&ccu RST_BUS_TCON_LCD0>,
				 <&ccu RST_BUS_TCON_TV>,
				 <&ccu RST_BUS_LVDS0>;
			reset-names = "rst_bus_de0",
					"rst_bus_de1",
					"rst_bus_dpss_top0",
					"rst_bus_dpss_top1",
					"rst_bus_mipi_dsi0",
					"rst_bus_tcon0",
					"rst_bus_tcon1",
					"rst_bus_lvds0";

			assigned-clocks = <&ccu CLK_DE0>,
			<&ccu CLK_MIPI_DSI>,
			<&ccu CLK_TCON_LCD0>,
			<&ccu CLK_TCON_TV>;
			assigned-clock-parents = <&ccu CLK_PLL_PERIPH0_2X>,
			<&ccu CLK_PLL_PERIPH0>,
			<&ccu CLK_PLL_VIDEO0_4X>,
			<&ccu CLK_PLL_VIDEO1_4X>;
			assigned-clock-rates = <300000000>,
			<150000000>,
			<0>,
			<0>;

			boot_disp = <0>;
			boot_disp1 = <0>;
			boot_disp2 = <0>;
			fb_base = <0>;
			iommus = <&mmu_aw 2 0>;
			status = "okay";
		};

             ve: ve@1c0e000 {
                   compatible = "allwinner,sunxi-cedar-ve";
                   reg = <0x0 0x01c0e000 0x0 0x1000>,
                         <0x0 0x03000000 0x0 0x10>,
                         <0x0 0x03001000 0x0 0x1000>;
                   interrupts-extended = <&plic0 82 IRQ_TYPE_LEVEL_HIGH>;
                   clocks = <&ccu CLK_BUS_VE>, <&ccu CLK_VE>, <&ccu CLK_MBUS_VE>;
                   clock-names = "bus_ve", "ve", "mbus_ve";
                   resets = <&ccu RST_BUS_VE>;
                   iommus = <&mmu_aw 0 1>;
                   status = "okay";
             };

		msgbox: msgbox@0601f000 {
			compatible = "sunxi,msgbox-amp";
			reg = <0x0 0x03003000 0x0 0x1000>,
			      <0x0 0x01701000 0x0 0x1000>,
			      <0x0 0x0601f000 0x0 0x1000>;
			interrupts-extended = <&plic0 144 IRQ_TYPE_LEVEL_HIGH>,
					<&plic0 102 IRQ_TYPE_LEVEL_HIGH>,
					<&plic0 140 IRQ_TYPE_LEVEL_HIGH>;
			clocks = <&ccu CLK_BUS_MSGBOX2>;
			rpmsg_id = "sunxi,dsp-msgbox","sunxi,dsp-power-msgbox";
			resets = <&ccu RST_BUS_MSGBOX2>;
			reset-names = "rst";
			msgbox_amp_counts = <3>;
			msgbox_amp_local = <2>;
			rpmsg_amp_remote-0 = <1>;
			rpmsg_read_channel-0 = <2>;
			rpmsg_write_channel-0 = <2>;
			rpmsg_amp_remote-1 = <1>;
			rpmsg_read_channel-1 = <0>;
			rpmsg_write_channel-1 = <0>;
		};

		lcd0: lcd0@1c0c000 {
			compatible = "allwinner,sunxi-lcd0";
			reg = <0x0 0x1c0c000 0x0 0x0>;  /* Fake registers to avoid dtc compiling warnings */
			pinctrl-names = "active","sleep";
			status = "okay";
		};


		sdc2: sdmmc@4022000 {
			compatible = "allwinner,sunxi-mmc-v4p6x";
			device_type = "sdc2";
			reg = <0x0 0x04022000 0x0 0x1000>;
			interrupts-extended = <&plic0 58 IRQ_TYPE_LEVEL_HIGH>;
			clocks = <&dcxo24M>,
				 <&ccu CLK_PLL_PERIPH0_2X>,
				 <&ccu CLK_MMC2>,
				 <&ccu CLK_BUS_MMC2>;
			clock-names = "osc24m","pll_periph","mmc","ahb";
			resets = <&ccu RST_BUS_MMC2>;
			reset-names = "rst";
			pinctrl-names = "default","sleep";
			pinctrl-0 = <&sdc2_pins_a>;
			pinctrl-1 = <&sdc2_pins_b>;
			bus-width = <4>;
			req-page-count = <2>;
			cap-mmc-highspeed;
			cap-cmd23;
			mmc-cache-ctrl;
			non-removable;
			/*max-frequency = <200000000>;*/
			max-frequency = <50000000>;
			cap-erase;
			mmc-high-capacity-erase-size;
			no-sdio;
			no-sd;
			/*-- speed mode --*/
			/*sm0: DS26_SDR12*/
			/*sm1: HSSDR52_SDR25*/
			/*sm2: HSDDR52_DDR50*/
			/*sm3: HS200_SDR104*/
			/*sm4: HS400*/
			/*-- frequency point --*/
			/*f0: CLK_400K*/
			/*f1: CLK_25M*/
			/*f2: CLK_50M*/
			/*f3: CLK_100M*/
			/*f4: CLK_150M*/
			/*f5: CLK_200M*/

			sdc_tm4_sm0_freq0 = <0>;
			sdc_tm4_sm0_freq1 = <0>;
			sdc_tm4_sm1_freq0 = <0x00000000>;
			sdc_tm4_sm1_freq1 = <0>;
			sdc_tm4_sm2_freq0 = <0x00000000>;
			sdc_tm4_sm2_freq1 = <0>;
			sdc_tm4_sm3_freq0 = <0x05000000>;
			sdc_tm4_sm3_freq1 = <0x00000005>;
			sdc_tm4_sm4_freq0 = <0x00050000>;
			sdc_tm4_sm4_freq1 = <0x00000004>;
			sdc_tm4_sm4_freq0_cmd = <0>;
			sdc_tm4_sm4_freq1_cmd = <0>;

			/*vmmc-supply = <&reg_3p3v>;*/
			/*vqmc-supply = <&reg_3p3v>;*/
			/*vdmc-supply = <&reg_3p3v>;*/
			/*vmmc = "vcc-card";*/
			/*vqmc = "";*/
			/*vdmc = "";*/
			/*sunxi-power-save-mode;*/
		};

		sdc0: sdmmc@4020000 {
			compatible = "allwinner,sunxi-mmc-v5p3x";
			device_type = "sdc0";
			reg = <0x0 0x04020000 0x0 0x1000>;
			interrupts-extended = <&plic0 56 IRQ_TYPE_LEVEL_HIGH>;
			clocks = <&dcxo24M>,
				 <&ccu CLK_PLL_PERIPH0_2X>,
				 <&ccu CLK_MMC0>,
				 <&ccu CLK_BUS_MMC0>;
			clock-names = "osc24m","pll_periph","mmc","ahb";
			resets = <&ccu RST_BUS_MMC0>;
			reset-names = "rst";
			pinctrl-names = "default","mmc_1v8","sleep","uart_jtag";
			pinctrl-0 = <&sdc0_pins_a>;
			pinctrl-1 = <&sdc0_pins_b>;
			pinctrl-2 = <&sdc0_pins_c>;
			pinctrl-3 = <&sdc0_pins_d &sdc0_pins_e>;
			max-frequency = <50000000>;
			bus-width = <4>;
			req-page-count = <2>;
			/*non-removable;*/
			/*broken-cd;*/
			/*cd-inverted*/
			/*cd-gpios = <&pio PF 6 GPIO_ACTIVE_LOW>;*/
			/* vmmc-supply = <&reg_3p3v>;*/
			/* vqmc-supply = <&reg_3p3v>;*/
			/* vdmc-supply = <&reg_3p3v>;*/
			/*vmmc = "vcc-card";*/
			/*vqmc = "";*/
			/*vdmc = "";*/
			cap-sd-highspeed;
			cap-wait-while-busy;
			no-sdio;
			no-mmc;
			/*sd-uhs-sdr50;*/
			/*sd-uhs-ddr50;*/
			/*cap-sdio-irq;*/
			/*keep-power-in-suspend;*/
			/*ignore-pm-notify;*/
			/*sunxi-power-save-mode;*/
			/*sunxi-dly-400k = <1 0 0 0>; */
			/*sunxi-dly-26M  = <1 0 0 0>;*/
			/*sunxi-dly-52M  = <1 0 0 0>;*/
			/*sunxi-dly-52M-ddr4  = <1 0 0 0>;*/
			/*sunxi-dly-52M-ddr8  = <1 0 0 0>;*/
			/*sunxi-dly-104M  = <1 0 0 0>;*/
			/*sunxi-dly-208M  = <1 0 0 0>;*/
			/*sunxi-dly-104M-ddr  = <1 0 0 0>;*/
			/*sunxi-dly-208M-ddr  = <1 0 0 0>;*/

			status = "okay";
		};



		sdc1: sdmmc@4021000 {
			compatible = "allwinner,sunxi-mmc-v5p3x";
			device_type = "sdc1";
			reg = <0x0 0x04021000 0x0 0x1000>;
			interrupts-extended = <&plic0 57 IRQ_TYPE_LEVEL_HIGH>;
			clocks = <&dcxo24M>,
				 <&ccu CLK_PLL_PERIPH0_2X>,
				 <&ccu CLK_MMC1>,
				 <&ccu CLK_BUS_MMC1>;
			clock-names = "osc24m","pll_periph","mmc","ahb";
			resets = <&ccu RST_BUS_MMC1>;
			reset-names = "rst";
			pinctrl-names = "default","sleep";
			pinctrl-0 = <&sdc1_pins_a>;
			pinctrl-1 = <&sdc1_pins_b>;
			max-frequency = <50000000>;
			bus-width = <4>;
			/*broken-cd;*/
			/*cd-inverted*/
			/*cd-gpios = <&pio PG 6 6 1 2 0>;*/
			/* vmmc-supply = <&reg_3p3v>;*/
			/* vqmc-supply = <&reg_3p3v>;*/
			/* vdmc-supply = <&reg_3p3v>;*/
			/*vmmc = "vcc-card";*/
			/*vqmc = "";*/
			/*vdmc = "";*/
			cap-sd-highspeed;
			no-mmc;
			/*sd-uhs-sdr50;*/
			/*sd-uhs-ddr50;*/
			/*sd-uhs-sdr104;*/
			/*cap-sdio-irq;*/
			keep-power-in-suspend;
			/*ignore-pm-notify;*/
			/*sunxi-power-save-mode;*/
			/*sunxi-dly-400k = <1 0 0 0 0>; */
			/*sunxi-dly-26M  = <1 0 0 0 0>;*/
			/*sunxi-dly-52M  = <1 0 0 0 0>;*/
			sunxi-dly-52M-ddr4  = <1 0 0 0 2>;
			/*sunxi-dly-52M-ddr8  = <1 0 0 0 0>;*/
			sunxi-dly-104M  = <1 0 0 0 1>;
			/*sunxi-dly-208M  = <1 1 0 0 0>;*/
			sunxi-dly-208M  = <1 0 0 0 1>;
			/*sunxi-dly-104M-ddr  = <1 0 0 0 0>;*/
			/*sunxi-dly-208M-ddr  = <1 0 0 0 0>;*/

			status = "disabled";
		};

		hdmi: hdmi@5500000 {
			compatible = "allwinner,sunxi-hdmi";
			reg = <0x0 0x05500000 0x0 0xfffff>;
			interrupts-extended = <&plic0 93 IRQ_TYPE_LEVEL_HIGH>;
			clocks = <&ccu CLK_BUS_HDMI>,
				<&ccu CLK_HDMI_24M>,
				<&ccu CLK_HDMI_CEC>,
				<&ccu CLK_TCON_TV>;
			clock-names = "clk_bus_hdmi",
					"clk_ddc",
					"clk_cec",
					"clk_tcon_tv";
			resets = <&ccu RST_BUS_HDMI_SUB>,
				<&ccu RST_BUS_HDMI_MAIN>;
			reset-names = "rst_bus_sub",
				      "rst_bus_main";
			assigned-clocks = <&ccu CLK_HDMI_CEC>;
			assigned-clock-parents = <&ccu CLK_HDMI_CEC_32K>;
			assigned-clock-rates = <0>;
			status = "okay";
		};

		usbc0:usbc0@0 {
			device_type = "usbc0";
			compatible = "allwinner,sunxi-otg-manager";
			usb_port_type = <2>;
			usb_detect_type = <1>;
			usb_id_gpio;
			usb_det_vbus_gpio;
			usb_regulator_io = "nocare";
			usb_wakeup_suspend = <0>;
			usb_luns = <3>;
			usb_serial_unique = <0>;
			usb_serial_number = "20080411";
			rndis_wceis = <1>;
			status = "okay";
		};

		udc:udc-controller@0x04100000 {
			compatible = "allwinner,sunxi-udc";
			reg = <0x0 0x04100000 0x0 0x1000>, /*udc base*/
			      <0x0 0x00000000 0x0 0x100>; /*sram base*/
			interrupts-extended = <&plic0 45 IRQ_TYPE_LEVEL_HIGH>;
			clocks = <&ccu CLK_BUS_OTG>;
			clock-names = "bus_otg";
			resets = <&ccu RST_BUS_OTG>, <&ccu RST_USB_PHY0>;
			reset-names = "otg", "phy";
			status = "okay";
		};

		ehci0:ehci0-controller@0x04101000 {
			compatible = "allwinner,sunxi-ehci0";
			reg = <0x0 0x04101000 0x0 0xFFF>, /*hci0 base*/
			      <0x0 0x00000000 0x0 0x100>, /*sram base*/
			      <0x0 0x04100000 0x0 0x1000>; /*otg base*/
			interrupts-extended = <&plic0 46 IRQ_TYPE_LEVEL_HIGH>;
			clocks = <&ccu CLK_BUS_EHCI0>;
			clock-names = "bus_hci";
			resets = <&ccu RST_BUS_EHCI0>, <&ccu RST_USB_PHY0>;
			reset-names = "hci", "phy";
			hci_ctrl_no = <0>;
			status = "okay";
		};

		ohci0:ohci0-controller@0x04101400 {
			compatible = "allwinner,sunxi-ohci0";
			reg = <0x0 0x04101400 0x0 0xFFF>, /*hci0 base*/
			      <0x0 0x00000000 0x0 0x100>, /*sram base*/
			      <0x0 0x04100000 0x0 0x1000>; /*otg base*/
			interrupts-extended = <&plic0 47 IRQ_TYPE_LEVEL_HIGH>;
			clocks = <&ccu CLK_BUS_OHCI0>, <&ccu CLK_USB_OHCI0>;
			clock-names = "bus_hci", "ohci";
			resets = <&ccu RST_BUS_OHCI0>, <&ccu RST_USB_PHY0>;
			reset-names = "hci", "phy";
			hci_ctrl_no = <0>;
			status = "okay";
		};

		usbc1:usbc1@0 {
			device_type = "usbc1";
			usb_regulator_io = "nocare";
			usb_wakeup_suspend = <0>;
			status = "disable";
		};

		ehci1:ehci1-controller@0x04200000 {
			compatible = "allwinner,sunxi-ehci1";
			reg = <0x0 0x04200000 0x0 0xFFF>, /*ehci1 base*/
			      <0x0 0x00000000 0x0 0x100>, /*sram base*/
			      <0x0 0x04100000 0x0 0x1000>; /*otg base*/
			interrupts-extended = <&plic0 49 IRQ_TYPE_LEVEL_HIGH>;
			clocks = <&ccu CLK_BUS_EHCI1>;
			clock-names = "bus_hci";
			resets = <&ccu RST_BUS_EHCI1>, <&ccu RST_USB_PHY1>;
			reset-names = "hci", "phy";
			hci_ctrl_no = <1>;
			status = "disable";
		};

		ohci1:ohci1-controller@0x04200400 {
			compatible = "allwinner,sunxi-ohci1";
			reg = <0x0 0x04200400 0x0 0xFFF>, /*ohci1 base*/
			      <0x0 0x00000000 0x0 0x100>, /*sram base*/
			      <0x0 0x04100000 0x0 0x1000>; /*otg base*/
			interrupts-extended = <&plic0 50 IRQ_TYPE_LEVEL_HIGH>;
			clocks = <&ccu CLK_BUS_OHCI1>, <&ccu CLK_USB_OHCI1>;
			clock-names = "bus_hci", "ohci";
			resets = <&ccu RST_BUS_OHCI1>, <&ccu RST_USB_PHY1>;
			reset-names = "hci", "phy";
			hci_ctrl_no = <1>;
			status = "disable";
		};

		pwm0: pwm0@2000c10 {
			compatible = "allwinner,sunxi-pwm0";
			reg = <0x0 0x02000c10 0x0 0x4>;
			reg_base = <0x02000c00>;
		};

		pwm1: pwm1@2000c11 {
			compatible = "allwinner,sunxi-pwm1";
			reg = <0x0 0x02000c11 0x0 0x4>;
			reg_base = <0x02000c00>;
		};

		pwm2: pwm2@2000c12 {
			compatible = "allwinner,sunxi-pwm2";
			reg = <0x0 0x02000c12 0x0 0x4>;
			reg_base = <0x02000c00>;
		};

		pwm3: pwm3@2000c13 {
			compatible = "allwinner,sunxi-pwm3";
			reg = <0x0 0x02000c13 0x0 0x4>;
			reg_base = <0x02000c00>;
		};

		pwm4: pwm4@2000c14 {
			compatible = "allwinner,sunxi-pwm4";
			reg = <0x0 0x02000c14 0x0 0x4>;
			reg_base = <0x02000c00>;
		};

		pwm5: pwm5@2000c15 {
			compatible = "allwinner,sunxi-pwm5";
			reg = <0x0 0x02000c15 0x0 0x4>;
			reg_base = <0x02000c00>;
		};

		pwm6: pwm6@2000c16 {
			compatible = "allwinner,sunxi-pwm6";
			reg = <0x0 0x02000c16 0x0 0x4>;
			reg_base = <0x02000c00>;
		};

		pwm7: pwm7@2000c17 {
			compatible = "allwinner,sunxi-pwm7";
			reg = <0x0 0x02000c17 0x0 0x4>;
			reg_base = <0x02000c00>;
		};

		lcd_fb0: lcd_fb0@0 {
			compatible = "allwinner,sunxi-lcd_fb0";
			pinctrl-names = "active","sleep";
			status = "disabled";
		};

		vind0: vind@5800800 {
			compatible = "allwinner,sunxi-vin-media", "simple-bus";
			#address-cells = <2>;
			#size-cells = <2>;
			ranges;
			device_id = <0>;
			csi_top = <336000000>;
			csi_isp = <327000000>;
			reg = <0x0 0x05800800 0x0 0x200>,
				<0x0 0x05800000 0x0 0x800>;
			clocks = <&ccu CLK_CSI_TOP>, <&ccu CLK_PLL_VIDEO1_2X>,
				<&ccu CLK_CSI0_MCLK>, <&dcxo24M>, <&ccu CLK_PLL_VIDEO1>,
				<&ccu CLK_BUS_CSI>, <&ccu CLK_MBUS_CSI>;
			clock-names = "csi_top", "csi_top_src",
					"csi_mclk0", "csi_mclk0_24m", "csi_mclk0_pll",
					"csi_bus", "csi_mbus";
			resets = <&ccu RST_BUS_CSI>;
			reset-names = "csi_ret";
			pinctrl-names = "mclk0-default", "mclk0-sleep";
			pinctrl-0 = <&csi_mclk0_pins_a>;
			pinctrl-1 = <&csi_mclk0_pins_b>;
			status = "okay";

			csi0: csi@5801000{
				compatible = "allwinner,sunxi-csi";
				reg = <0x0 0x05801000 0x0 0x1000>;
				interrupts-extended = <&plic0 116 IRQ_TYPE_LEVEL_HIGH>;
				pinctrl-names = "default","sleep";
				pinctrl-0 = <&csi0_pins_a>;
				pinctrl-1 = <&csi0_pins_b>;
				device_id = <0>;
				iommus = <&mmu_aw 1 1>;
				status = "okay";
			};
			isp0: isp@5809410 {
				compatible = "allwinner,sunxi-isp";
				reg = <0x0 0x05809410 0x0 0x10>;
				device_id = <0xfe>;

				status = "okay";
			};
			isp1: isp@5809420 {
				compatible = "allwinner,sunxi-isp";
				reg = <0x0 0x05809420 0x0 0x10>;
				device_id = <0xff>;
				status = "okay";
			};
			scaler0: scaler@5809430 {
				compatible = "allwinner,sunxi-scaler";
				reg = <0x0 0x05809430 0x0 0x10>;
				device_id = <0xfe>;
				status = "okay";
			};
			scaler1: scaler@5809440 {
				compatible = "allwinner,sunxi-scaler";
				reg = <0x0 0x05809440 0x0 0x10>;
				device_id = <0xff>;
				status = "okay";
			};
			actuator0: actuator@5809450 {
				compatible = "allwinner,sunxi-actuator";
				device_type = "actuator0";
				reg = <0x0 0x05809450 0x0 0x10>;
				actuator0_name = "ad5820_act";
				actuator0_slave = <0x18>;
				actuator0_af_pwdn = <>;
				actuator0_afvdd = "afvcc-csi";
				actuator0_afvdd_vol = <2800000>;
				status = "disabled";
			};
			flash0: flash@5809460 {
				device_type = "flash0";
				compatible = "allwinner,sunxi-flash";
				reg = <0x0 0x05809460 0x0 0x10>;
				flash0_type = <2>;
				flash0_en = <>;
				flash0_mode = <>;
				flash0_flvdd = "";
				flash0_flvdd_vol = <>;
				device_id = <0>;
				status = "disabled";
			};
			sensor0: sensor@5809470 {
				reg = <0x0 0x05809470 0x0 0x10>;
				device_type = "sensor0";
				compatible = "allwinner,sunxi-sensor";
				sensor0_mname = "ov5640";
				sensor0_twi_cci_id = <2>;
				sensor0_twi_addr = <0x78>;
				sensor0_mclk_id = <0>;
				sensor0_pos = "rear";
				sensor0_isp_used = <0>;
				sensor0_fmt = <0>;
				sensor0_stby_mode = <0>;
				sensor0_vflip = <0>;
				sensor0_hflip = <0>;
				sensor0_iovdd-supply = <>;
				sensor0_iovdd_vol = <>;
				sensor0_avdd-supply = <>;
				sensor0_avdd_vol = <>;
				sensor0_dvdd-supply = <>;
				sensor0_dvdd_vol = <>;
				sensor0_power_en = <>;
				sensor0_reset = <&pio PE 9 GPIO_ACTIVE_LOW>;
				sensor0_pwdn = <&pio PE 8 GPIO_ACTIVE_LOW>;
				sensor0_sm_vs = <>;
				flash_handle = <&flash0>;
				act_handle = <&actuator0>;
				device_id = <0>;
				status	= "okay";
			};
			sensor1: sensor@5809480 {
				reg = <0x0 0x05809480 0x0 0x10>;
				device_type = "sensor1";
				compatible = "allwinner,sunxi-sensor";
				sensor1_mname = "ov5647";
				sensor1_twi_cci_id = <3>;
				sensor1_twi_addr = <0x6c>;
				sensor1_mclk_id = <1>;
				sensor1_pos = "front";
				sensor1_isp_used = <0>;
				sensor1_fmt = <0>;
				sensor1_stby_mode = <0>;
				sensor1_vflip = <0>;
				sensor1_hflip = <0>;
				sensor1_iovdd-supply = <>;
				sensor1_iovdd_vol = <>;
				sensor1_avdd-supply = <>;
				sensor1_avdd_vol = <>;
				sensor1_dvdd-supply = <>;
				sensor1_dvdd_vol = <>;
				sensor1_power_en = <>;
				sensor1_reset = <&pio PE 7 GPIO_ACTIVE_LOW>;
				sensor1_pwdn = <&pio PE 6 GPIO_ACTIVE_LOW>;
				sensor1_sm_vs = <>;
				flash_handle = <>;
				act_handle = <>;
				device_id = <1>;
				status	= "okay";
			};
			vinc0: vinc@5809000 {
				compatible = "allwinner,sunxi-vin-core";
				device_type = "vinc0";
				reg = <0x0 0x05809000 0x0 0x200>;
				interrupts-extended = <&plic0 111 IRQ_TYPE_LEVEL_HIGH>;
				vinc0_csi_sel = <0>;
				vinc0_mipi_sel = <0xff>;
				vinc0_isp_sel = <0>;
				vinc0_tdm_rx_sel = <0xff>;
				vinc0_rear_sensor_sel = <0>;
				vinc0_front_sensor_sel = <0>;
				vinc0_sensor_list = <0>;
				device_id = <0>;
				iommus = <&mmu_aw 1 1>;
				status = "okay";
			};
			vinc1: vinc@5809200 {
				device_type = "vinc1";
				compatible = "allwinner,sunxi-vin-core";
				reg = <0x0 0x05809200 0x0 0x200>;
				interrupts-extended = <&plic0 112 IRQ_TYPE_LEVEL_HIGH>;
				vinc1_csi_sel = <0>;
				vinc1_mipi_sel = <0xff>;
				vinc1_isp_sel = <1>;
				vinc1_tdm_rx_sel = <0xff>;
				vinc1_rear_sensor_sel = <0>;
				vinc1_front_sensor_sel = <0>;
				vinc1_sensor_list = <0>;
				device_id = <1>;
				iommus = <&mmu_aw 1 1>;
				status = "okay";
			};

		};
		tvd: tvd@05c00000 {
			compatible = "allwinner,sunxi-tvd";
			reg = <0x0 0x05c00000 0x0 0x00010000>;/*tvd_top*/
			interrupts-extended = <&plic0 123 IRQ_TYPE_LEVEL_HIGH>;

			clocks = <&ccu CLK_BUS_TVD_TOP>,
			<&ccu CLK_MBUS_TVIN>;
			clock-names = "clk_bus_tvd_top",
			"clk_mbus_tvd";

			resets = <&ccu RST_BUS_TVD_TOP>;
			reset-names = "rst_bus_tvd_top";

			tvd-number = <1>;
			tvds = <&tvd0>;
			status = "okay";
		};

		tvd0: tvd0@05c01000 {
			compatible = "allwinner,sunxi-tvd0";
			reg = <0x0 0x05c01000 0x0 0x00010000>;
			interrupts-extended = <&plic0 123 IRQ_TYPE_LEVEL_HIGH>;

			clocks = <&ccu CLK_TVD>,
			<&ccu CLK_BUS_TVD>;
			clock-names = "clk_tvd0","clk_bus_tvd0";

			resets = <&ccu RST_BUS_TVD>;
			reset-names = "rst_bus_tvd0";

			assigned-clocks = <&ccu CLK_TVD>;
			assigned-clock-parents = <&ccu CLK_PLL_VIDEO1>;

			tvd_used = <1>;
			tvd_if = <0>;
			status = "okay";
		};
	};

};
